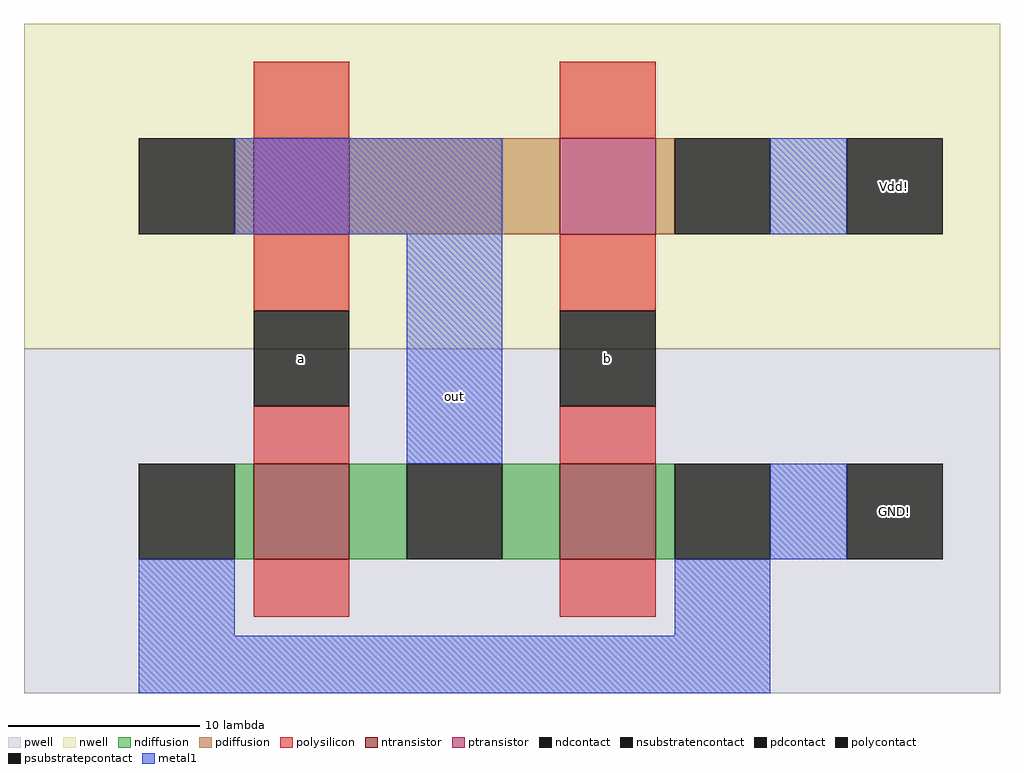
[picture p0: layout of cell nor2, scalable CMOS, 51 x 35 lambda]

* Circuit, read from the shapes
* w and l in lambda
.subckt nor2 GND! Vdd! a b out
M1 out a GND! GND! nfet w=5 l=5
M2 GND! b out GND! nfet w=5 l=5
M3 n1 a out Vdd! pfet w=5 l=5
M4 Vdd! b n1 Vdd! pfet w=5 l=5
.ends

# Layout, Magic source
magic
tech scmos
<< nwell >>
rect -17 -2 34 15
<< pwell >>
rect -17 -20 34 -2
<< ntransistor >>
rect -5 -13 0 -8
rect 11 -13 16 -8
<< ptransistor >>
rect -5 4 0 9
rect 11 4 16 9
<< ndiffusion >>
rect -6 -13 -5 -8
rect 0 -13 3 -8
rect 8 -13 11 -8
rect 16 -13 17 -8
<< pdiffusion >>
rect -6 4 -5 9
rect 0 4 11 9
rect 16 4 17 9
<< ndcontact >>
rect -11 -13 -6 -8
rect 3 -13 8 -8
rect 17 -13 22 -8
<< pdcontact >>
rect -11 4 -6 9
rect 17 4 22 9
<< psubstratepcontact >>
rect 26 -13 31 -8
<< nsubstratencontact >>
rect 26 4 31 9
<< polysilicon >>
rect -5 9 0 13
rect 11 9 16 13
rect -5 0 0 4
rect -5 -8 0 -5
rect 11 0 16 4
rect 11 -8 16 -5
rect -5 -16 0 -13
rect 11 -16 16 -13
<< polycontact >>
rect -5 -5 0 0
rect 11 -5 16 0
<< metal1 >>
rect -6 4 8 9
rect 22 4 26 9
rect 3 -8 8 4
rect 22 -13 26 -8
rect -11 -17 -6 -13
rect 17 -17 22 -13
rect -11 -20 22 -17
<< labels >>
rlabel polycontact 13 -3 14 -2 1 b
rlabel polycontact -3 -3 -2 -2 1 a
rlabel metal1 5 -5 6 -4 1 out
rlabel psubstratepcontact 28 -11 29 -10 1 GND!
rlabel nsubstratencontact 28 6 29 7 1 Vdd!
<< end >>
